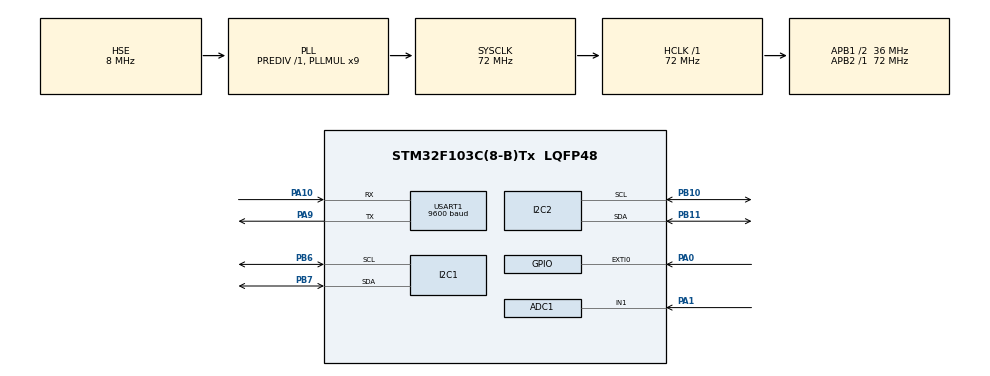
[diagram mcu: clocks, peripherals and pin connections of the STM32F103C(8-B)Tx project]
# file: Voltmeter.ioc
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ADC1.Channel-0\#ChannelRegularConversion=ADC_CHANNEL_1
ADC1.ContinuousConvMode=ENABLE
ADC1.NbrOfConversionFlag=1
ADC1.Rank-0\#ChannelRegularConversion=1
ADC1.SamplingTime-0\#ChannelRegularConversion=ADC_SAMPLETIME_1CYCLE_5
ADC1.master=1
Mcu.Family=STM32F1
Mcu.Name=STM32F103C(8-B)Tx
Mcu.Package=LQFP48
NVIC.EXTI0_IRQn=true\:0\:0\:false\:false\:true\:true\:true\:true
NVIC.PriorityGroup=NVIC_PRIORITYGROUP_4
NVIC.TIM3_IRQn=true\:0\:0\:false\:false\:true\:true\:true\:true
PA0-WKUP.GPIO_PuPd=GPIO_PULLDOWN
PA0-WKUP.Signal=GPXTI0
PA1.Signal=ADCx_IN1
PA10.Mode=Asynchronous
PA10.Signal=USART1_RX
PA13.Mode=Serial_Wire
PA13.Signal=SYS_JTMS-SWDIO
PA14.Mode=Serial_Wire
PA14.Signal=SYS_JTCK-SWCLK
PA9.Mode=Asynchronous
PA9.Signal=USART1_TX
PB10.Mode=I2C
PB10.Signal=I2C2_SCL
PB11.Mode=I2C
PB11.Signal=I2C2_SDA
PB6.Mode=I2C
PB6.Signal=I2C1_SCL
PB7.Mode=I2C
PB7.Signal=I2C1_SDA
PD0-OSC_IN.Mode=HSE-External-Oscillator
PD0-OSC_IN.Signal=RCC_OSC_IN
PD1-OSC_OUT.Mode=HSE-External-Oscillator
PD1-OSC_OUT.Signal=RCC_OSC_OUT
ProjectManager.HeapSize=0x200
ProjectManager.StackSize=0x400
ProjectManager.TargetToolchain=MDK-ARM V5.32
RCC.ADCPresc=RCC_ADCPCLK2_DIV6
RCC.AHBFreq_Value=72000000
RCC.APB1CLKDivider=RCC_HCLK_DIV2
RCC.APB1Freq_Value=36000000
RCC.APB1TimFreq_Value=72000000
RCC.APB2Freq_Value=72000000
RCC.APB2TimFreq_Value=72000000
RCC.HCLKFreq_Value=72000000
RCC.PLLMUL=RCC_PLL_MUL9
RCC.PLLSourceVirtual=RCC_PLLSOURCE_HSE
RCC.SYSCLKFreq_VALUE=72000000
RCC.SYSCLKSource=RCC_SYSCLKSOURCE_PLLCLK
RCC.USBFreq_Value=72000000
SH.ADCx_IN1.0=ADC1_IN1,IN1
TIM3.Period=36000-1
TIM3.Prescaler=2000
USART1.BaudRate=9600
USART1.VirtualMode=VM_ASYNC
VP_TIM3_VS_ClockSourceINT.Mode=Internal
board=custom

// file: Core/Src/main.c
/* USER CODE BEGIN Header */
/**
  ******************************************************************************
  * @file           : main.c
  * @brief          : Main program body
  ******************************************************************************
  * @attention
  *
  * Copyright (c) 2023 STMicroelectronics.
  * All rights reserved.
  *
  * This software is licensed under terms that can be found in the LICENSE file
  * in the root directory of this software component.
  * If no LICENSE file comes with this software, it is provided AS-IS.
  *
  ******************************************************************************
  */
/* USER CODE END Header */
#include "main.h"
#include "adc.h"
#include "i2c.h"
#include "tim.h"
#include "usart.h"
#include "gpio.h"

/* USER CODE BEGIN Includes */
#include "OLED.h"
#include "INA226.h"
#include "stdio.h"

/* USER CODE END Includes */
#define I_Kp 0.00390625
#define sample_cnt 36
/* USER CODE BEGIN PTD */
int cnt=0;
int FR=0;
/* USER CODE END PTD */

void SystemClock_Config(void);

int main(void)
{
  /* USER CODE BEGIN 1 */
	float VOL=0;
	float R=0;
	unsigned int AD_I=0;
	float AD_I_value=0;
	char s[20];
	unsigned long AD_I_sum=0;

  /* USER CODE END 1 */

  /* MCU Configuration--------------------------------------------------------*/

  /* Reset of all peripherals, Initializes the Flash interface and the Systick. */
  HAL_Init();

  /* Configure the system clock */
  SystemClock_Config();

  /* Initialize all configured peripherals */
  MX_GPIO_Init();
  MX_I2C2_Init();
  MX_TIM3_Init();
  MX_I2C1_Init();
  MX_ADC1_Init();
  MX_USART1_UART_Init();
  /* USER CODE BEGIN 2 */
	HAL_TIM_Base_Start_IT(&htim3);
	oled_init();

	INA226_Init();

	oled_show_string(26, 0, "Multimeter", 2);
	oled_show_string(0, 2, "Vol:", 2);
	oled_show_string(0, 4, "Res:", 2);
	oled_show_string(0, 6, "Cur:", 2);

  /* USER CODE END 2 */

  /* Infinite loop */
  /* USER CODE BEGIN WHILE */
  while (1)
  {

//		INA226_Get_ID(INA226_ADDR1);
		for(unsigned int i=0;i<sample_cnt;i++)
		{
			HAL_ADC_Start(&hadc1);
			HAL_ADC_PollForConversion(&hadc1,10);
			HAL_ADC_Stop(&hadc1);
			AD_I=HAL_ADC_GetValue(&hadc1);
			AD_I_sum+=AD_I;
		}
		AD_I_value=AD_I_sum/sample_cnt*3.3/4096;
		AD_I_sum=0;

		printf("#000505:%f",AD_I_value); 	//电流值输出
		sprintf(s, "%.3f", AD_I_value);
		oled_show_string(50, 6, s, 2);

/*		if(AD_I_value>0 && AD_I_value<3)
		{
			printf("#000505:%f",AD_I_value); 	//电流值输出
			sprintf(s, "%.3f", AD_I_value);
			oled_show_string(50, 6, s, 2);
		}
		else{
			AD_I_value=0;
			printf("#000505:%f",AD_I_value); 	//电流值输出
			oled_show_string(50, 6, "0.00", 2);
		}*/
		//printf输出数据格式要求{#控件代码：数据}

		VOL=INA226_getBusVReg(&hi2c1,0X80)*1.25/1000;	//计算电压实际值
		printf("#000501:%f",VOL);
		printf("#000700:%f",VOL);

		sprintf(s, "%.3f", VOL);
		oled_show_string(50, 2, s, 2);
		R = 1/(1.4*FR*94.64*0.000000001)-3000;	//计算电阻实际值

		if(R>0.11 && R<100000)
		{
				sprintf(s, "%.2f", R);
				oled_show_string(50, 4, s, 2);
				printf("#000503:%f",R);
		}
		else if(R>100000)
		{
				R=0;
				oled_show_string(50, 4, "0.000000", 2);
				printf("#000503:%f",R);
		}
		else
		{
				R=0;
				oled_show_string(50, 4, "0.000000", 2);
				printf("#000503:%f",R);
		}

    /* USER CODE END WHILE */

  }
}

void SystemClock_Config(void)
{
  RCC_OscInitTypeDef RCC_OscInitStruct = {0};
  RCC_ClkInitTypeDef RCC_ClkInitStruct = {0};
  RCC_PeriphCLKInitTypeDef PeriphClkInit = {0};

  /** Initializes the RCC Oscillators according to the specified parameters
  * in the RCC_OscInitTypeDef structure.
  */
  RCC_OscInitStruct.OscillatorType = RCC_OSCILLATORTYPE_HSE;
  RCC_OscInitStruct.HSEState = RCC_HSE_ON;
  RCC_OscInitStruct.HSEPredivValue = RCC_HSE_PREDIV_DIV1;
  RCC_OscInitStruct.HSIState = RCC_HSI_ON;
  RCC_OscInitStruct.PLL.PLLState = RCC_PLL_ON;
  RCC_OscInitStruct.PLL.PLLSource = RCC_PLLSOURCE_HSE;
  RCC_OscInitStruct.PLL.PLLMUL = RCC_PLL_MUL9;
  if (HAL_RCC_OscConfig(&RCC_OscInitStruct) != HAL_OK)
  {
    Error_Handler();
  }

  /** Initializes the CPU, AHB and APB buses clocks
  */
  RCC_ClkInitStruct.ClockType = RCC_CLOCKTYPE_HCLK|RCC_CLOCKTYPE_SYSCLK
                              |RCC_CLOCKTYPE_PCLK1|RCC_CLOCKTYPE_PCLK2;
  RCC_ClkInitStruct.SYSCLKSource = RCC_SYSCLKSOURCE_PLLCLK;
  RCC_ClkInitStruct.AHBCLKDivider = RCC_SYSCLK_DIV1;
  RCC_ClkInitStruct.APB1CLKDivider = RCC_HCLK_DIV2;
  RCC_ClkInitStruct.APB2CLKDivider = RCC_HCLK_DIV1;

  if (HAL_RCC_ClockConfig(&RCC_ClkInitStruct, FLASH_LATENCY_2) != HAL_OK)
  {
    Error_Handler();
  }
  PeriphClkInit.PeriphClockSelection = RCC_PERIPHCLK_ADC;
  PeriphClkInit.AdcClockSelection = RCC_ADCPCLK2_DIV6;
  if (HAL_RCCEx_PeriphCLKConfig(&PeriphClkInit) != HAL_OK)
  {
    Error_Handler();
  }
}

void Error_Handler(void)
{
  __disable_irq();
  while (1)
  {
  }
}
